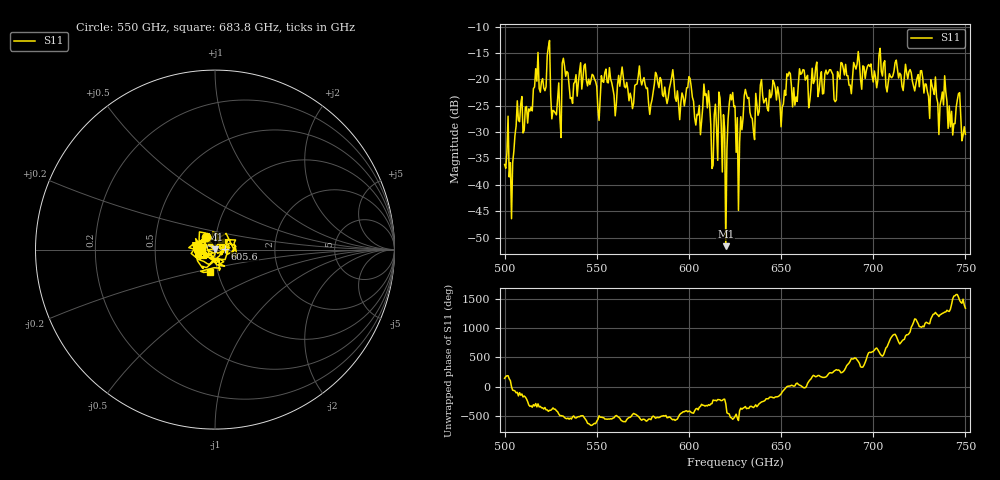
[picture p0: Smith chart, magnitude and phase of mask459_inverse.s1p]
!Created with skrf (http://scikit-rf.org).
# GHz S MA R 50.0
!freq magS11 angS11
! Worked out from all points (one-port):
!   401 points, 500 GHz to 750 GHz, reference 50 ohm
!   lowest |S11| = -51.6 dB at 620 GHz (marker M1), VSWR 1.01, Z = 50.1 + j0.242 ohm
!   |S11| at or under -10 dB: start of sweep to end of sweep
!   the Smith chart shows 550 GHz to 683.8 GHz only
!   S11 on the Smith chart (normalised r, x): 550 GHz: 0.89, +0.12; 605.6 GHz: 1.12, +0.01; 683.8 GHz: 0.92, -0.23
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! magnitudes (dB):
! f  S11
! 500 GHz  -36.1
! 503.8 GHz  -46.4
! 508.1 GHz  -28.0
! 513.8 GHz  -26.0
! 516.9 GHz  -18.0
! 523.8 GHz  -13.8
! 526.9 GHz  -26.0
! 531.2 GHz  -16.9
! 550 GHz  -21.4
! 562.5 GHz  -21.3
! 593.8 GHz  -22.2
! 600 GHz  -19.5
! 605.6 GHz  -24.9
! 609.4 GHz  -22.8
! 612.5 GHz  -36.9
! 617.5 GHz  -28.3
! 620 GHz  -51.6
! 622.5 GHz  -22.9
! 625 GHz  -25.1
! 626.9 GHz  -44.9
! 631.2 GHz  -22.9
! 634.4 GHz  -27.4
! 656.2 GHz  -25.2
! 683.8 GHz  -17.9
! 687.5 GHz  -21.1
! 718.8 GHz  -19.9
! 746.2 GHz  -22.7
! 750 GHz  -30.4
